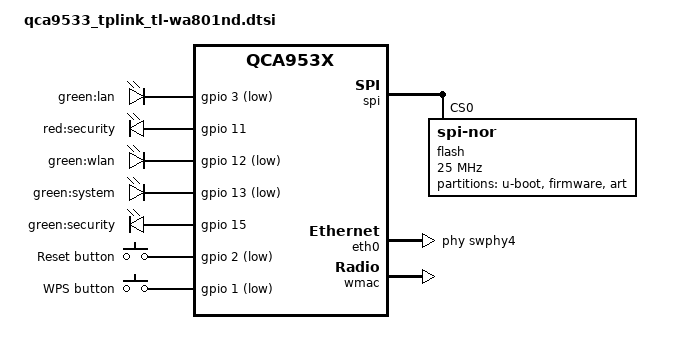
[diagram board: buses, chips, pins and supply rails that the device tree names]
// SPDX-License-Identifier: GPL-2.0-or-later OR MIT

#include "qca953x.dtsi"

#include <dt-bindings/gpio/gpio.h>
#include <dt-bindings/input/input.h>

/ {
	aliases {
		label-mac-device = &wmac;
		led-boot = &led_system;
		led-failsafe = &led_system;
		led-running = &led_system;
		led-upgrade = &led_system;
	};

	leds {
		compatible = "gpio-leds";

		lan {
			label = "green:lan";
			gpios = <&gpio 3 GPIO_ACTIVE_LOW>;
		};

		security_red {
			label = "red:security";
			gpios = <&gpio 11 GPIO_ACTIVE_HIGH>;
		};

		wlan {
			label = "green:wlan";
			gpios = <&gpio 12 GPIO_ACTIVE_LOW>;
			linux,default-trigger = "phy0tpt";
		};

		led_system: system {
			label = "green:system";
			gpios = <&gpio 13 GPIO_ACTIVE_LOW>;
		};

		security_green {
			label = "green:security";
			gpios = <&gpio 15 GPIO_ACTIVE_HIGH>;
		};
	};

	keys {
		compatible = "gpio-keys";

		reset {
			label = "Reset button";
			linux,code = <KEY_RESTART>;
			gpios = <&gpio 2 GPIO_ACTIVE_LOW>;
			debounce-interval = <60>;
		};

		wps {
			label = "WPS button";
			linux,code = <KEY_WPS_BUTTON>;
			gpios = <&gpio 1 GPIO_ACTIVE_LOW>;
			debounce-interval = <60>;
		};
	};
};

&spi {
	status = "okay";

	flash@0 {
		compatible = "jedec,spi-nor";
		reg = <0>;
		spi-max-frequency = <25000000>;

		partitions {
			compatible = "fixed-partitions";
			#address-cells = <1>;
			#size-cells = <1>;

			uboot: partition@0 {
				label = "u-boot";
				reg = <0x000000 0x020000>;
				read-only;
			};

			partition@20000 {
				compatible = "tplink,firmware";
				label = "firmware";
				reg = <0x020000 0x3d0000>;
			};

			art: partition@3f0000 {
				label = "art";
				reg = <0x3f0000 0x010000>;
				read-only;
			};
		};
	};
};

&eth0 {
	status = "okay";

	phy-handle = <&swphy4>;

	nvmem-cells = <&macaddr_uboot_1fc00>;
	nvmem-cell-names = "mac-address";
};

&eth1 {
	compatible = "syscon", "simple-mfd";
};

&wmac {
	status = "okay";

	mtd-cal-data = <&art 0x1000>;
	nvmem-cells = <&macaddr_uboot_1fc00>;
	nvmem-cell-names = "mac-address";
};

&uboot {
	compatible = "nvmem-cells";
	#address-cells = <1>;
	#size-cells = <1>;

	macaddr_uboot_1fc00: macaddr@1fc00 {
		reg = <0x1fc00 0x6>;
	};
};
